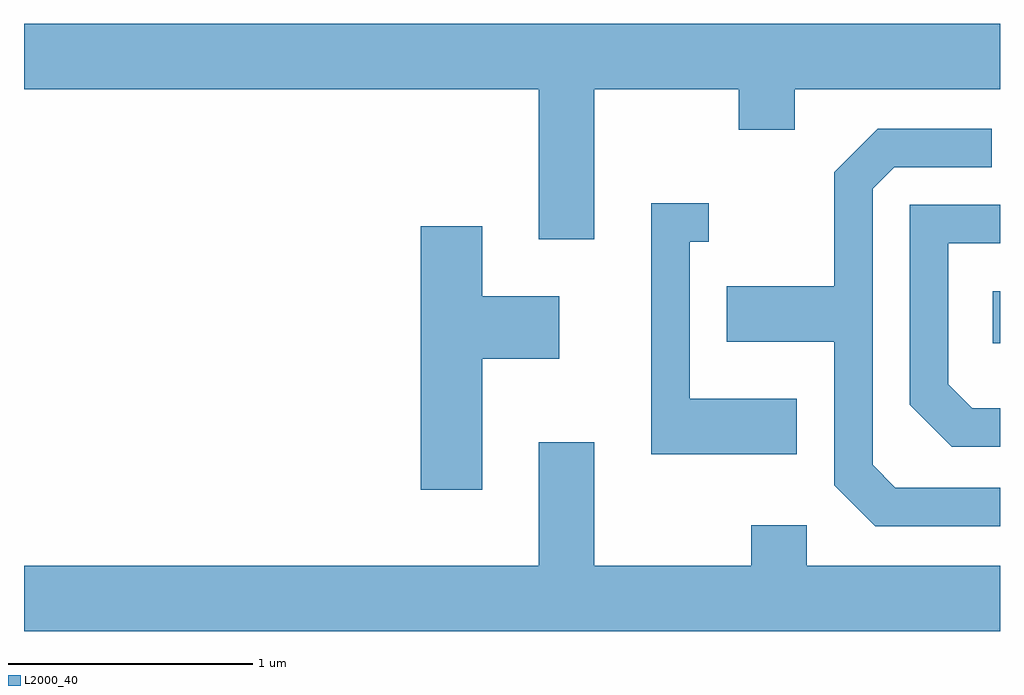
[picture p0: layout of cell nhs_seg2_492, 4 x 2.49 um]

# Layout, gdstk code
import gdstk
lib = gdstk.Library(unit=1e-6, precision=1e-09)
def R(c, l, rs):  # rectangles x0, y0, x1, y1
    for r in rs: c.add(gdstk.rectangle(r[:2], r[2:], *l))
def P(c, l, *ps):  # polygons
    for p in ps: c.add(gdstk.Polygon(p, *l))
L2000_40 = (2000, 40)

nhs_seg2_492 = lib.new_cell('nhs_seg2_492')
R(nhs_seg2_492, L2000_40, [(203.581,1011.756,203.611,1011.969)])
P(nhs_seg2_492, L2000_40, [(201.949,1012.796),(202.541,1012.796),(202.541,1012.631),(202.769,1012.631),(202.769,1012.796),(203.611,1012.796),(203.611,1013.064),(199.611,1013.064),(199.611,1012.796),(201.721,1012.796),(201.721,1012.181),(201.949,1012.181)],
  [(203.611,1011.164),(203.182,1011.164),(203.089,1011.257),(203.089,1012.389),(203.177,1012.476),(203.578,1012.476),(203.578,1012.634),(203.109,1012.634),(202.931,1012.457),(202.931,1011.989),(202.491,1011.989),(202.491,1011.761),(202.931,1011.761),(202.931,1011.174),(203.099,1011.006),(203.611,1011.006)],
  [(202.779,1011.529),(202.339,1011.529),(202.339,1012.171),(202.418,1012.171),(202.418,1012.329),(202.181,1012.329),(202.181,1011.301),(202.779,1011.301)],
  [(203.611,1011.489),(203.497,1011.489),(203.399,1011.587),(203.399,1012.166),(203.611,1012.166),(203.611,1012.324),(203.241,1012.324),(203.241,1011.504),(203.414,1011.331),(203.611,1011.331)],
  [(201.489,1011.691),(201.804,1011.691),(201.804,1011.949),(201.489,1011.949),(201.489,1012.234),(201.236,1012.234),(201.236,1011.156),(201.489,1011.156)],
  [(203.611,1010.844),(202.819,1010.844),(202.819,1011.009),(202.591,1011.009),(202.591,1010.844),(201.949,1010.844),(201.949,1011.349),(201.721,1011.349),(201.721,1010.844),(199.611,1010.844),(199.611,1010.576),(203.611,1010.576)])

lib.write_gds('nhs_seg2_492.gds')
